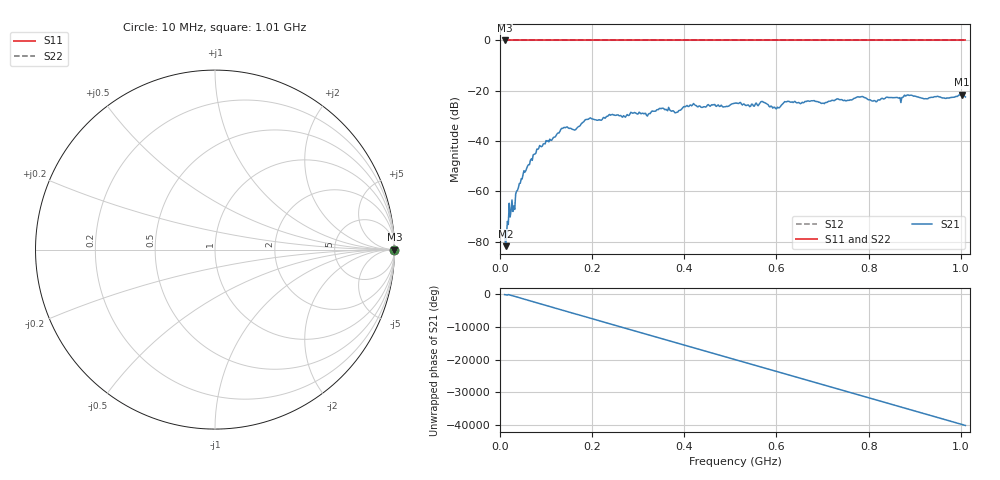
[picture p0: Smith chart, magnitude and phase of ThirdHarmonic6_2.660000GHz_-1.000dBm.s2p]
! 8/17/2025 6:07:41 AM
! C:\ANRITSUVNA\TEMP\TEMP.S2P
! CHANNEL.1
! TR.MEASUREMENT
! RAW.DATA
! RF.CORRECTION.OFF
! AVERAGING.OFF
! IF.BANDWIDTH: 5KHZ
! SWEEPTYPE:  FREQ.SWEEP(Linear)
! Reference Plane Port Info
! PORT:  PORT1  PORT2
! DISTANCE:  0  m  0  m
! TIME:  0  s  0  s
! PHASE.OFFSET:  0  deg.  0  deg.
! LOSS:  0  dB  0  dB
! REF.LOSS:  0  dB  0  dB
! REF.FREQ:  0  Hz  0  Hz
! Power Info
! POWER:  -20  dBm  -20  dBm
! EFF.POWER:  -20  dBm  -20  dBm
! SOURCE.ATTEN:  0  dB  0  dB
! TEST.ATTEN:  0  dB  0  dB
# GHZ S RI R 50.0
! FREQ.GHZ  S11RE  S11IM  S21RE  S21IM  S12RE  S12IM  S22RE  S22IM
!; PortSelection: Port_12
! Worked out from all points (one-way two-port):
!   501 points, 10 MHz to 1.01 GHz, reference 50 ohm
!   highest |S21| = -21.54 dB at 1.002 GHz (marker M1); lowest = -81.8 dB at 12 MHz (marker M2)
!   lowest |S11| = 0.0 dB at 10 MHz (marker M3)
!   |S11| at or under -10 dB: nowhere
!   |S22| runs from 0.0 to 0.0 dB; largest |S21 - S12| = 1.1
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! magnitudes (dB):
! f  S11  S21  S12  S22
! 10 MHz  0.0  -75.5  0.0  0.0
! 12 MHz  0.0  -81.8  0.0  0.0
! 22 MHz  0.0  -70.2  0.0  0.0
! 32 MHz  0.0  -67.2  0.0  0.0
! 38 MHz  0.0  -59.5  0.0  0.0
! 48 MHz  0.0  -55.0  0.0  0.0
! 84 MHz  0.0  -42.9  0.0  0.0
! 136 MHz  0.0  -35.0  0.0  0.0
! 162 MHz  0.0  -35.6  0.0  0.0
! 178 MHz  0.0  -32.8  0.0  0.0
! 322 MHz  0.0  -29.3  0.0  0.0
! 344 MHz  0.0  -27.4  0.0  0.0
! 382 MHz  0.0  -28.7  0.0  0.0
! 418 MHz  0.0  -25.6  0.0  0.0
! 510 MHz  0.0  -24.9  0.0  0.0
! 570 MHz  0.0  -24.3  0.0  0.0
! 602 MHz  0.0  -26.5  0.0  0.0
! 622 MHz  0.0  -24.3  0.0  0.0
! 678 MHz  0.0  -24.0  0.0  0.0
! 844 MHz  0.0  -22.7  0.0  0.0
! 1.002 GHz  0.0  -21.5  0.0  0.0
! 1.01 GHz  0.0  -22.5  0.0  0.0
